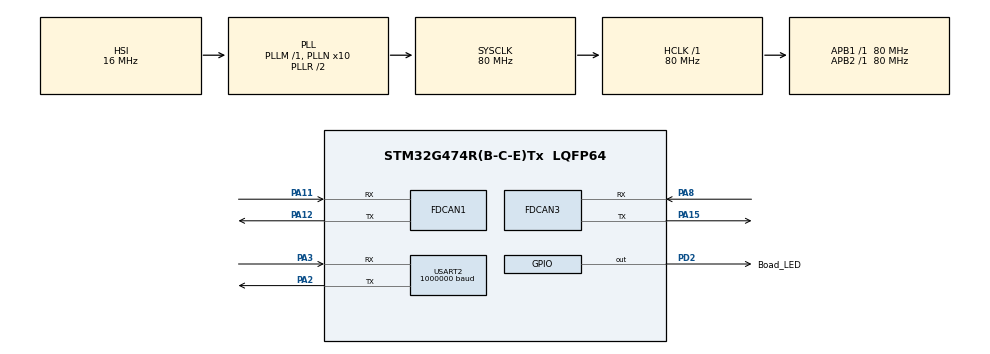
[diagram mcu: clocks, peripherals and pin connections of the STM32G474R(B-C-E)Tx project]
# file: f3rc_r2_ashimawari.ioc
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FDCAN1.CalculateBaudRateNominal=1000000
FDCAN1.CalculateTimeBitNominal=1000
FDCAN1.CalculateTimeQuantumNominal=50.0
FDCAN1.DataPrescaler=2
FDCAN1.DataTimeSeg1=15
FDCAN1.DataTimeSeg2=4
FDCAN1.FrameFormat=FDCAN_FRAME_FD_BRS
FDCAN1.NominalPrescaler=4
FDCAN1.NominalTimeSeg1=15
FDCAN1.NominalTimeSeg2=4
FDCAN1.StdFiltersNbr=1
FDCAN3.CalculateBaudRateNominal=1000000
FDCAN3.CalculateTimeBitNominal=1000
FDCAN3.CalculateTimeQuantumNominal=50.0
FDCAN3.DataPrescaler=2
FDCAN3.DataTimeSeg1=15
FDCAN3.DataTimeSeg2=4
FDCAN3.FrameFormat=FDCAN_FRAME_FD_BRS
FDCAN3.NominalPrescaler=4
FDCAN3.NominalTimeSeg1=15
FDCAN3.NominalTimeSeg2=4
FDCAN3.StdFiltersNbr=1
Mcu.Family=STM32G4
Mcu.Name=STM32G474R(B-C-E)Tx
Mcu.Package=LQFP64
NVIC.FDCAN1_IT0_IRQn=true\:0\:0\:false\:false\:true\:true\:true\:true
NVIC.FDCAN1_IT1_IRQn=true\:0\:0\:false\:false\:true\:true\:true\:true
NVIC.FDCAN3_IT0_IRQn=true\:0\:0\:false\:false\:true\:true\:true\:true
NVIC.FDCAN3_IT1_IRQn=true\:0\:0\:false\:false\:true\:true\:true\:true
NVIC.PriorityGroup=NVIC_PRIORITYGROUP_4
NVIC.TIM6_DAC_IRQn=true\:0\:0\:false\:false\:true\:true\:true\:true
PA11.Mode=FDCAN_Activate
PA11.Signal=FDCAN1_RX
PA12.Mode=FDCAN_Activate
PA12.Signal=FDCAN1_TX
PA15.Mode=FDCAN_Activate
PA15.Signal=FDCAN3_TX
PA2.Mode=Asynchronous
PA2.Signal=USART2_TX
PA3.Mode=Asynchronous
PA3.Signal=USART2_RX
PA8.Mode=FDCAN_Activate
PA8.Signal=FDCAN3_RX
PD2.GPIO_Label=Boad_LED
PD2.Signal=GPIO_Output
ProjectManager.HeapSize=0x200
ProjectManager.StackSize=0x400
ProjectManager.TargetToolchain=STM32CubeIDE
RCC.ADC12Freq_Value=80000000
RCC.ADC345Freq_Value=80000000
RCC.AHBFreq_Value=80000000
RCC.APB1Freq_Value=80000000
RCC.APB1TimFreq_Value=80000000
RCC.APB2Freq_Value=80000000
RCC.APB2TimFreq_Value=80000000
RCC.CortexFreq_Value=80000000
RCC.EXTERNAL_CLOCK_VALUE=12288000
RCC.HCLKFreq_Value=80000000
RCC.HSE_VALUE=8000000
RCC.HSI48_VALUE=48000000
RCC.HSI_VALUE=16000000
RCC.LSE_VALUE=32768
RCC.PLLN=10
RCC.SYSCLKFreq_VALUE=80000000
RCC.SYSCLKSource=RCC_SYSCLKSOURCE_PLLCLK
RCC.USBFreq_Value=80000000
RCC.VCOOutputFreq_Value=160000000
TIM6.PeriodNoDither=7999
TIM6.Prescaler=9
USART2.BaudRate=1000000
USART2.VirtualMode-Asynchronous=VM_ASYNC
VP_SYS_VS_DBSignals.Mode=DisableDeadBatterySignals
VP_TIM6_VS_ClockSourceINT.Mode=Enable_Timer
board=custom

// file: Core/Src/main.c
/* USER CODE BEGIN Header */
/**
  ******************************************************************************
  * @file           : main.c
  * @brief          : Main program body
  ******************************************************************************
  * @attention
  *
  * Copyright (c) 2024 STMicroelectronics.
  * All rights reserved.
  *
  * This software is licensed under terms that can be found in the LICENSE file
  * in the root directory of this software component.
  * If no LICENSE file comes with this software, it is provided AS-IS.
  *
  ******************************************************************************
  */
/* USER CODE END Header */
#include "main.h"

/* USER CODE BEGIN Includes */
#include <stdio.h>
#include <math.h>
/* USER CODE END Includes */

/* USER CODE BEGIN PTD */
typedef struct{
	uint16_t CANID;
	uint8_t motorID;
	int16_t trgVel;
	volatile int16_t actVel;
	volatile int16_t p_actVel;
	volatile int16_t cu;
	double angle;
	int16_t actCurrent;
	float hensa;
	float ind;
	float w;
}motor;
/* USER CODE END PTD */

/* USER CODE BEGIN PD */
#define R_F 4
#define L_F 3
#define R_B 1
#define L_B 2

#define PI 3.1415
/* USER CODE END PD */

FDCAN_HandleTypeDef hfdcan1;
FDCAN_HandleTypeDef hfdcan3;

TIM_HandleTypeDef htim6;

UART_HandleTypeDef huart2;

/* USER CODE BEGIN PV */
const float a0 = PI/180*51;
const float a1 = PI/180*129;
const float a2 = PI/180*231;
const float a3 = PI/180*309;
const float r = 0.03;
const float R = 0.247;

FDCAN_TxHeaderTypeDef TxHeader;
FDCAN_RxHeaderTypeDef RxHeader;
FDCAN_TxHeaderTypeDef TxHeader_motor;
FDCAN_RxHeaderTypeDef RxHeader_motor;
FDCAN_FilterTypeDef sFilterConfig;

uint8_t TxData[8] = {};
uint8_t RxData[8] = {};
uint8_t TxData_motor[8] = {};
uint8_t RxData_motor[8] = {};
uint32_t TxMailbox;

motor robomas[4] = {
		{0x201, 1, 0, 0, 0, 0, 0, 0, 0, 0, 0},
		{0x202, 2, 0, 0, 0, 0, 0, 0, 0, 0, 0},
		{0x203, 3, 0, 0, 0, 0, 0, 0, 0, 0, 0},
		{0x204, 4, 0, 0, 0, 0, 0, 0, 0, 0, 0}
};

volatile float k_p = 7, k_i = 0.5, k_d = 0.0001;
volatile float vx = 0, vy = 0, omega = 0;//m/s, m/s, rad/s

volatile int16_t x = 0, y = 0;
volatile float theta = 0;
/* USER CODE END PV */

void SystemClock_Config(void);
static void MX_GPIO_Init(void);
static void MX_FDCAN1_Init(void);
static void MX_FDCAN3_Init(void);
static void MX_TIM6_Init(void);
static void MX_USART2_UART_Init(void);

/* USER CODE BEGIN 0 */

void HAL_FDCAN_RxFifo0Callback(FDCAN_HandleTypeDef *hfdcan, uint32_t RxFifo0ITs){
	if ((RxFifo0ITs & FDCAN_IT_RX_FIFO0_NEW_MESSAGE) != RESET) {

	        /* Retrieve Rx messages from RX FIFO0 */
		if (HAL_FDCAN_GetRxMessage(&hfdcan3, FDCAN_RX_FIFO0, &RxHeader_motor, RxData_motor) != HAL_OK) {
			printf("fdcan_getrxmessage_motor is error\r\n");
			Error_Handler();
		}
		for (int i=0; i<=3;i++){
			if (RxHeader_motor.Identifier == (robomas[i].CANID)) {
				robomas[i].angle = (int16_t)((RxData_motor[0] << 8) | RxData_motor[1]);
				robomas[i].actVel = (int16_t)((RxData_motor[2] << 8) | RxData_motor[3]);
				robomas[i].actCurrent = (int16_t)((RxData_motor[4] << 8) | RxData_motor[5]);
			}
		}

	}

}

void HAL_FDCAN_RxFifo1Callback(FDCAN_HandleTypeDef *hfdcan, uint32_t RxFifo1ITs){
	if ((RxFifo1ITs & FDCAN_IT_RX_FIFO1_NEW_MESSAGE) != RESET) {

	        /* Retrieve Rx messages from RX FIFO0 */

		if (HAL_FDCAN_GetRxMessage(&hfdcan1, FDCAN_RX_FIFO1, &RxHeader, RxData) != HAL_OK) {
			printf("fdcan_getrxmessage is error\r\n");
			Error_Handler();
		}

		if (RxHeader.Identifier == 0x100) {

		}

		if (RxHeader.Identifier == 0x001) {
            //printf("can");
			float Vel_x = (int16_t)((RxData[0] << 8) | RxData[1]);
			float Vel_y = (int16_t)((RxData[2] << 8) | RxData[3]);
			float Omega_i = (int16_t)((RxData[4] << 8) | RxData[5]);

            //printf("vy: %d\r\n",(int)Vel_y);
			//omega = (int8_t)RxData[6];
//			float omega_syf = (int16_t)((RxData[4] << 8) | RxData[5]);
//			omega_syf /= 400;
//			if (omega >= 0) {
//				omega += omega_syf;
//			}
//			else {
//				omega -= omega_syf;
//			}
//			omega*=1000;
			vx = Vel_x / 1000;
			vy = Vel_y / 1000;
			omega = Omega_i / 400;
			//printf("%d\r\n", (int)(Omega_i));
		}
		if (RxHeader.Identifier == 0x400) {
			//printf("canlive");
			x = (int16_t)((RxData[0] << 8) | RxData[1]);
			y = (int16_t)((RxData[2] << 8) | RxData[3]);
			theta = (float)(int16_t)((RxData[4] << 8) | RxData[5]);
			theta /= 400;
			/*
			theta = (int8_t)RxData[6];
			float theta_syf = (int16_t)((RxData[4] << 8) | RxData[5]);
			theta_syf /= 10000;
			if (theta >= 0) {
				theta += theta_syf;
			}
			else {
				theta -= theta_syf;
			}
			printf("%d\r\n",(int)theta*100);*/
		}
	}
}

void FDCAN_RxTxSettings(void){
	FDCAN_FilterTypeDef FDCAN_Filter_settings;
	FDCAN_Filter_settings.IdType = FDCAN_STANDARD_ID;
	FDCAN_Filter_settings.FilterIndex = 0;
	FDCAN_Filter_settings.FilterType = FDCAN_FILTER_RANGE;
	FDCAN_Filter_settings.FilterConfig = FDCAN_FILTER_TO_RXFIFO1;
	FDCAN_Filter_settings.FilterID1 = 0x000;
	FDCAN_Filter_settings.FilterID2 = 0x600;

	TxHeader.Identifier = 0x000;
	TxHeader.IdType = FDCAN_STANDARD_ID;
	TxHeader.TxFrameType = FDCAN_DATA_FRAME;
	TxHeader.DataLength = FDCAN_DLC_BYTES_8;
	TxHeader.ErrorStateIndicator = FDCAN_ESI_ACTIVE;
	TxHeader.BitRateSwitch = FDCAN_BRS_ON;
	TxHeader.FDFormat = FDCAN_FD_CAN;
	TxHeader.TxEventFifoControl = FDCAN_NO_TX_EVENTS;
	TxHeader.MessageMarker = 0;

	if (HAL_FDCAN_ConfigFilter(&hfdcan1, &FDCAN_Filter_settings) != HAL_OK){
		printf("fdcan_configfilter is error\r\n");
		Error_Handler();
	}

	if (HAL_FDCAN_ConfigGlobalFilter(&hfdcan1, FDCAN_REJECT, FDCAN_FILTER_REJECT, FDCAN_FILTER_REMOTE, FDCAN_FILTER_REMOTE) != HAL_OK){
		printf("fdcan_configglobalfilter is error\r\n");
		Error_Handler();
	}

	if (HAL_FDCAN_Start(&hfdcan1) != HAL_OK) {
		printf("fdcan_start is error\r\n");
		Error_Handler();
	}

	if (HAL_FDCAN_ActivateNotification(&hfdcan1, FDCAN_IT_RX_FIFO1_NEW_MESSAGE, 0) != HAL_OK){
		printf("fdcan_activatenotification is error\r\n");
		Error_Handler();
	}
}

void FDCAN_motor_RxTxSettings(void) {
	FDCAN_FilterTypeDef FDCAN_Filter_settings_motor;
	FDCAN_Filter_settings_motor.IdType = FDCAN_STANDARD_ID;
	FDCAN_Filter_settings_motor.FilterIndex = 0;
	FDCAN_Filter_settings_motor.FilterType = FDCAN_FILTER_RANGE;
	FDCAN_Filter_settings_motor.FilterConfig = FDCAN_FILTER_TO_RXFIFO0;
	FDCAN_Filter_settings_motor.FilterID1 = 0x200;
	FDCAN_Filter_settings_motor.FilterID2 = 0x210;

	TxHeader_motor.Identifier = 0x200;
	TxHeader_motor.IdType = FDCAN_STANDARD_ID;
	TxHeader_motor.TxFrameType = FDCAN_DATA_FRAME;
	TxHeader_motor.DataLength = FDCAN_DLC_BYTES_8;
	TxHeader_motor.ErrorStateIndicator = FDCAN_ESI_ACTIVE;
	TxHeader_motor.BitRateSwitch = FDCAN_BRS_OFF;
	TxHeader_motor.FDFormat = FDCAN_CLASSIC_CAN;
	TxHeader_motor.TxEventFifoControl = FDCAN_NO_TX_EVENTS;
	TxHeader_motor.MessageMarker = 0;

	if (HAL_FDCAN_ConfigFilter(&hfdcan3, &FDCAN_Filter_settings_motor) != HAL_OK){
		printf("fdcan_configfilter is error\r\n");
		Error_Handler();
	}

	if (HAL_FDCAN_ConfigGlobalFilter(&hfdcan3, FDCAN_REJECT, FDCAN_FILTER_REJECT, FDCAN_FILTER_REMOTE, FDCAN_FILTER_REMOTE)){
		printf("fdcan_configglobalfilter is error\r\n");
		Error_Handler();
	}

	if (HAL_FDCAN_Start(&hfdcan3) != HAL_OK) {
		printf("fdcan_start is error\r\n");
		Error_Handler();
	}

	if (HAL_FDCAN_ActivateNotification(&hfdcan3, FDCAN_IT_RX_FIFO0_NEW_MESSAGE, 0) != HAL_OK){
		printf("fdcan_activatenotification is error\r\n");
		Error_Handler();
	}
}

void omni_calc(float theta,float vx,float vy,float omega,float *w0,float *w1,float *w2,float *w3){

	float v[3] = {vx, vy, omega};
	float sint = sin(theta);
	float cost = cos(theta);

	float arr[4][3] =
	{{-cos(a0)*sint-sin(a0)*cost, cos(a0)*cost-sin(a0)*sint, R},
	{-cos(a1)*sint-sin(a1)*cost, cos(a1)*cost-sin(a1)*sint, R},
	{-cos(a2)*sint-sin(a2)*cost, cos(a2)*cost-sin(a2)*sint, R},
	{-cos(a3)*sint-sin(a3)*cost, cos(a3)*cost-sin(a3)*sint, R}};

	*w0 = (arr[0][0] * v[0] + arr[0][1] * v[1] + arr[0][2] * v[2]) / r;
	*w1 = (arr[1][0] * v[0] + arr[1][1] * v[1] + arr[1][2] * v[2]) / r;
	*w2 = (arr[2][0] * v[0] + arr[2][1] * v[1] + arr[2][2] * v[2]) / r;
	*w3 = (arr[3][0] * v[0] + arr[3][1] * v[1] + arr[3][2] * v[2]) / r;
}

void HAL_TIM_PeriodElapsedCallback(TIM_HandleTypeDef *htim){
	if(htim == &htim6){
		//vx=0;
		//vy=0.5;
		//omega=0;
		omni_calc(theta ,vx, vy, omega, &robomas[R_F-1].w, &robomas[L_F-1].w, &robomas[L_B-1].w, &robomas[R_B-1].w);
		robomas[R_F-1].trgVel = (int)(-1*robomas[R_F-1].w*36*60/(2*PI));
		robomas[R_B-1].trgVel = (int)(-1*robomas[R_B-1].w*36*60/(2*PI));
		robomas[L_F-1].trgVel =  (int)(-1*robomas[L_F-1].w*36*60/(2*PI));
		robomas[L_B-1].trgVel = (int)(-1*robomas[L_B-1].w*36*60/(2*PI));
		for (int i=0; i<=3; i++){
			robomas[i].hensa = robomas[i].trgVel - robomas[i].actVel;
			if (robomas[i].hensa >= 1000) robomas[i].hensa = 1000;
			else if (robomas[i].hensa <= -1000) robomas[i].hensa = -1000;
			float d = (robomas[i].actVel - robomas[i].p_actVel) / 0.001;
			robomas[i].ind += robomas[i].hensa*0.1;
			if (d >= 30000) d = 30000;
			else if (d <= -30000) d = -30000;
			if (robomas[i].ind >= 10000) robomas[i].ind = 10000;
			else if (robomas[i].ind <= -10000) robomas[i].ind = -10000;

			float t = k_p*robomas[i].hensa;
			if (t>=10000) t = 10000;
			else if (t<=-10000) t = -10000;
			robomas[i].cu = (int16_t)(t+k_i*robomas[i].ind+k_d*d);
			if (robomas[i].cu <= -10000) robomas[i].cu = -10000;
			else if (robomas[i].cu >= 10000) robomas[i].cu = 10000;

			TxData_motor[i*2] = (robomas[i].cu) >> 8;
			TxData_motor[i*2+1] = (uint8_t)((robomas[i].cu) & 0xff);
			robomas[i].p_actVel = robomas[i].actVel;
		}
		if (HAL_FDCAN_AddMessageToTxFifoQ(&hfdcan3, &TxHeader_motor, TxData_motor) != HAL_OK){
			printf("addmassage is error\r\n");
			Error_Handler();
		}
	}
}

int _write(int file, char *ptr, int len)
{
    HAL_UART_Transmit(&huart2,(uint8_t *)ptr,len,10);
    return len;
}
/* USER CODE END 0 */

int main(void)
{

  /* USER CODE BEGIN 1 */
	setbuf(stdout, NULL);
  /* USER CODE END 1 */

  /* MCU Configuration--------------------------------------------------------*/

  /* Reset of all peripherals, Initializes the Flash interface and the Systick. */
  HAL_Init();

  /* Configure the system clock */
  SystemClock_Config();

  /* Initialize all configured peripherals */
  MX_GPIO_Init();
  MX_FDCAN1_Init();
  MX_FDCAN3_Init();
  MX_TIM6_Init();
  MX_USART2_UART_Init();
  /* USER CODE BEGIN 2 */
  printf("start\r\n");

  FDCAN_motor_RxTxSettings();
  printf("can_motor_start\r\n");
  FDCAN_RxTxSettings();
  printf("can_main_start\r\n");

  HAL_TIM_Base_Start_IT(&htim6);
  /* USER CODE END 2 */

  /* Infinite loop */
  /* USER CODE BEGIN WHILE */
  while (1)
  {
	  //printf("%d.%d\r\n", (int)theta, (int)(400*theta-(int)theta));
	  printf("vx:%d vy:%d omega:%d,theta:%d\r\n",(int)vx*100,(int)vy*100,(int)(omega*100), (int)(theta*100));
	  HAL_Delay(10);
    /* USER CODE END WHILE */
  }
}

void SystemClock_Config(void)
{
  RCC_OscInitTypeDef RCC_OscInitStruct = {0};
  RCC_ClkInitTypeDef RCC_ClkInitStruct = {0};

  /** Configure the main internal regulator output voltage
  */
  HAL_PWREx_ControlVoltageScaling(PWR_REGULATOR_VOLTAGE_SCALE1);

  /** Initializes the RCC Oscillators according to the specified parameters
  * in the RCC_OscInitTypeDef structure.
  */
  RCC_OscInitStruct.OscillatorType = RCC_OSCILLATORTYPE_HSI;
  RCC_OscInitStruct.HSIState = RCC_HSI_ON;
  RCC_OscInitStruct.HSICalibrationValue = RCC_HSICALIBRATION_DEFAULT;
  RCC_OscInitStruct.PLL.PLLState = RCC_PLL_ON;
  RCC_OscInitStruct.PLL.PLLSource = RCC_PLLSOURCE_HSI;
  RCC_OscInitStruct.PLL.PLLM = RCC_PLLM_DIV1;
  RCC_OscInitStruct.PLL.PLLN = 10;
  RCC_OscInitStruct.PLL.PLLP = RCC_PLLP_DIV2;
  RCC_OscInitStruct.PLL.PLLQ = RCC_PLLQ_DIV2;
  RCC_OscInitStruct.PLL.PLLR = RCC_PLLR_DIV2;
  if (HAL_RCC_OscConfig(&RCC_OscInitStruct) != HAL_OK)
  {
    Error_Handler();
  }

  /** Initializes the CPU, AHB and APB buses clocks
  */
  RCC_ClkInitStruct.ClockType = RCC_CLOCKTYPE_HCLK|RCC_CLOCKTYPE_SYSCLK
                              |RCC_CLOCKTYPE_PCLK1|RCC_CLOCKTYPE_PCLK2;
  RCC_ClkInitStruct.SYSCLKSource = RCC_SYSCLKSOURCE_PLLCLK;
  RCC_ClkInitStruct.AHBCLKDivider = RCC_SYSCLK_DIV1;
  RCC_ClkInitStruct.APB1CLKDivider = RCC_HCLK_DIV1;
  RCC_ClkInitStruct.APB2CLKDivider = RCC_HCLK_DIV1;

  if (HAL_RCC_ClockConfig(&RCC_ClkInitStruct, FLASH_LATENCY_2) != HAL_OK)
  {
    Error_Handler();
  }
}

static void MX_FDCAN1_Init(void)
{

  hfdcan1.Instance = FDCAN1;
  hfdcan1.Init.ClockDivider = FDCAN_CLOCK_DIV1;
  hfdcan1.Init.FrameFormat = FDCAN_FRAME_FD_BRS;
  hfdcan1.Init.Mode = FDCAN_MODE_NORMAL;
  hfdcan1.Init.AutoRetransmission = DISABLE;
  hfdcan1.Init.TransmitPause = DISABLE;
  hfdcan1.Init.ProtocolException = DISABLE;
  hfdcan1.Init.NominalPrescaler = 4;
  hfdcan1.Init.NominalSyncJumpWidth = 1;
  hfdcan1.Init.NominalTimeSeg1 = 15;
  hfdcan1.Init.NominalTimeSeg2 = 4;
  hfdcan1.Init.DataPrescaler = 2;
  hfdcan1.Init.DataSyncJumpWidth = 1;
  hfdcan1.Init.DataTimeSeg1 = 15;
  hfdcan1.Init.DataTimeSeg2 = 4;
  hfdcan1.Init.StdFiltersNbr = 1;
  hfdcan1.Init.ExtFiltersNbr = 0;
  hfdcan1.Init.TxFifoQueueMode = FDCAN_TX_FIFO_OPERATION;
  if (HAL_FDCAN_Init(&hfdcan1) != HAL_OK)
  {
    Error_Handler();
  }

}

static void MX_FDCAN3_Init(void)
{

  hfdcan3.Instance = FDCAN3;
  hfdcan3.Init.ClockDivider = FDCAN_CLOCK_DIV1;
  hfdcan3.Init.FrameFormat = FDCAN_FRAME_FD_BRS;
  hfdcan3.Init.Mode = FDCAN_MODE_NORMAL;
  hfdcan3.Init.AutoRetransmission = DISABLE;
  hfdcan3.Init.TransmitPause = DISABLE;
  hfdcan3.Init.ProtocolException = DISABLE;
  hfdcan3.Init.NominalPrescaler = 4;
  hfdcan3.Init.NominalSyncJumpWidth = 1;
  hfdcan3.Init.NominalTimeSeg1 = 15;
  hfdcan3.Init.NominalTimeSeg2 = 4;
  hfdcan3.Init.DataPrescaler = 2;
  hfdcan3.Init.DataSyncJumpWidth = 1;
  hfdcan3.Init.DataTimeSeg1 = 15;
  hfdcan3.Init.DataTimeSeg2 = 4;
  hfdcan3.Init.StdFiltersNbr = 1;
  hfdcan3.Init.ExtFiltersNbr = 0;
  hfdcan3.Init.TxFifoQueueMode = FDCAN_TX_FIFO_OPERATION;
  if (HAL_FDCAN_Init(&hfdcan3) != HAL_OK)
  {
    Error_Handler();
  }

}

static void MX_TIM6_Init(void)
{

  TIM_MasterConfigTypeDef sMasterConfig = {0};

  htim6.Instance = TIM6;
  htim6.Init.Prescaler = 9;
  htim6.Init.CounterMode = TIM_COUNTERMODE_UP;
  htim6.Init.Period = 7999;
  htim6.Init.AutoReloadPreload = TIM_AUTORELOAD_PRELOAD_DISABLE;
  if (HAL_TIM_Base_Init(&htim6) != HAL_OK)
  {
    Error_Handler();
  }
  sMasterConfig.MasterOutputTrigger = TIM_TRGO_RESET;
  sMasterConfig.MasterSlaveMode = TIM_MASTERSLAVEMODE_DISABLE;
  if (HAL_TIMEx_MasterConfigSynchronization(&htim6, &sMasterConfig) != HAL_OK)
  {
    Error_Handler();
  }

}

static void MX_USART2_UART_Init(void)
{

  huart2.Instance = USART2;
  huart2.Init.BaudRate = 1000000;
  huart2.Init.WordLength = UART_WORDLENGTH_8B;
  huart2.Init.StopBits = UART_STOPBITS_1;
  huart2.Init.Parity = UART_PARITY_NONE;
  huart2.Init.Mode = UART_MODE_TX_RX;
  huart2.Init.HwFlowCtl = UART_HWCONTROL_NONE;
  huart2.Init.OverSampling = UART_OVERSAMPLING_16;
  huart2.Init.OneBitSampling = UART_ONE_BIT_SAMPLE_DISABLE;
  huart2.Init.ClockPrescaler = UART_PRESCALER_DIV1;
  huart2.AdvancedInit.AdvFeatureInit = UART_ADVFEATURE_NO_INIT;
  if (HAL_UART_Init(&huart2) != HAL_OK)
  {
    Error_Handler();
  }
  if (HAL_UARTEx_SetTxFifoThreshold(&huart2, UART_TXFIFO_THRESHOLD_1_8) != HAL_OK)
  {
    Error_Handler();
  }
  if (HAL_UARTEx_SetRxFifoThreshold(&huart2, UART_RXFIFO_THRESHOLD_1_8) != HAL_OK)
  {
    Error_Handler();
  }
  if (HAL_UARTEx_DisableFifoMode(&huart2) != HAL_OK)
  {
    Error_Handler();
  }

}

static void MX_GPIO_Init(void)
{
  GPIO_InitTypeDef GPIO_InitStruct = {0};

  /* GPIO Ports Clock Enable */
  __HAL_RCC_GPIOA_CLK_ENABLE();
  __HAL_RCC_GPIOD_CLK_ENABLE();

  /*Configure GPIO pin Output Level */
  HAL_GPIO_WritePin(Boad_LED_GPIO_Port, Boad_LED_Pin, GPIO_PIN_RESET);

  /*Configure GPIO pin : Boad_LED_Pin */
  GPIO_InitStruct.Pin = Boad_LED_Pin;
  GPIO_InitStruct.Mode = GPIO_MODE_OUTPUT_PP;
  GPIO_InitStruct.Pull = GPIO_NOPULL;
  GPIO_InitStruct.Speed = GPIO_SPEED_FREQ_LOW;
  HAL_GPIO_Init(Boad_LED_GPIO_Port, &GPIO_InitStruct);

}

void Error_Handler(void)
{
  /* USER CODE BEGIN Error_Handler_Debug */
  /* User can add his own implementation to report the HAL error return state */
  __disable_irq();
  printf("Error\r\n");
  HAL_GPIO_TogglePin(Boad_LED_GPIO_Port, Boad_LED_Pin);
  while (1)
  {
  }
  /* USER CODE END Error_Handler_Debug */
}
